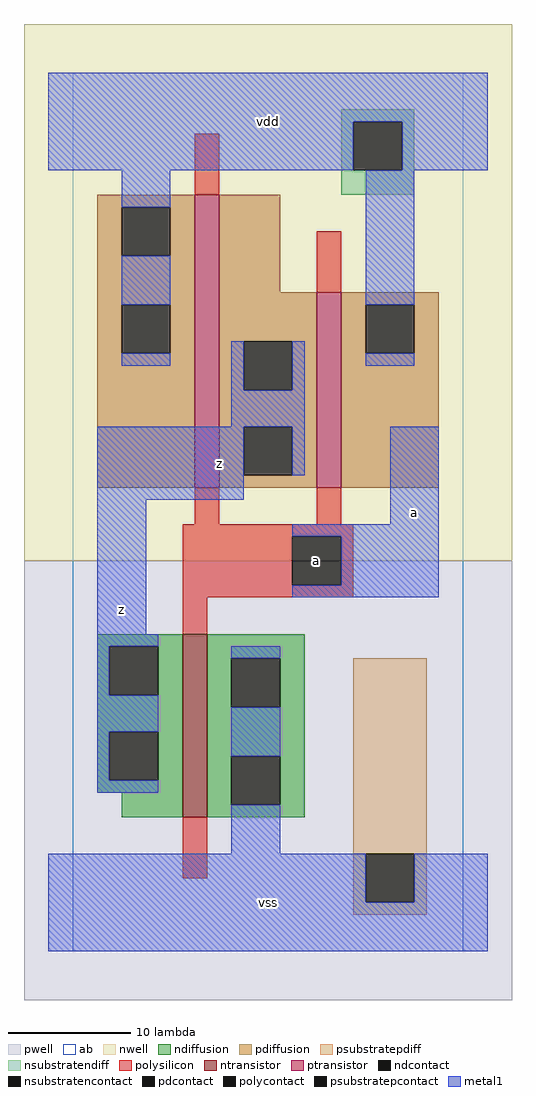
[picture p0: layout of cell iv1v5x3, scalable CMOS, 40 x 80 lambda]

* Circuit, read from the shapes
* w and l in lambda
.subckt iv1v5x3 a vdd vss z
M1 vss a z vss nfet w=15 l=2
M2 z a vdd vdd pfet w=24 l=2
M3 vdd a z vdd pfet w=16 l=2
.ends

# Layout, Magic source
magic
tech scmos
<< ab >>
rect 0 0 32 72
<< pwell >>
rect -4 -4 36 32
<< nwell >>
rect -4 32 36 76
<< polysilicon >>
rect 10 62 12 67
rect 20 54 22 59
rect 10 35 12 38
rect 20 35 22 38
rect 9 34 23 35
rect 9 30 18 34
rect 22 30 23 34
rect 9 29 23 30
rect 9 26 11 29
rect 9 6 11 11
<< ndiffusion >>
rect 2 25 9 26
rect 2 21 3 25
rect 7 21 9 25
rect 2 18 9 21
rect 2 14 3 18
rect 7 14 9 18
rect 2 13 9 14
rect 4 11 9 13
rect 11 24 19 26
rect 11 20 13 24
rect 17 20 19 24
rect 11 16 19 20
rect 11 12 13 16
rect 17 12 19 16
rect 11 11 19 12
<< pdiffusion >>
rect 2 61 10 62
rect 2 57 4 61
rect 8 57 10 61
rect 2 53 10 57
rect 2 49 4 53
rect 8 49 10 53
rect 2 38 10 49
rect 12 54 17 62
rect 12 50 20 54
rect 12 46 14 50
rect 18 46 20 50
rect 12 43 20 46
rect 12 39 14 43
rect 18 39 20 43
rect 12 38 20 39
rect 22 53 30 54
rect 22 49 24 53
rect 28 49 30 53
rect 22 38 30 49
<< metal1 >>
rect -2 68 34 72
rect -2 64 23 68
rect 27 64 34 68
rect 4 61 8 64
rect 4 53 8 57
rect 24 53 28 64
rect 4 48 8 49
rect 13 46 14 50
rect 18 46 19 50
rect 24 48 28 49
rect 13 43 19 46
rect 2 37 14 43
rect 18 39 19 43
rect 2 26 6 37
rect 26 35 30 43
rect 18 34 30 35
rect 22 30 30 34
rect 18 29 30 30
rect 2 25 7 26
rect 2 21 3 25
rect 2 18 7 21
rect 2 14 3 18
rect 2 13 7 14
rect 13 24 17 25
rect 13 16 17 20
rect 13 8 17 12
rect -2 4 24 8
rect 28 4 34 8
rect -2 0 34 4
<< ntransistor >>
rect 9 11 11 26
<< ptransistor >>
rect 10 38 12 62
rect 20 38 22 54
<< polycontact >>
rect 18 30 22 34
<< ndcontact >>
rect 3 21 7 25
rect 3 14 7 18
rect 13 20 17 24
rect 13 12 17 16
<< pdcontact >>
rect 4 57 8 61
rect 4 49 8 53
rect 14 46 18 50
rect 14 39 18 43
rect 24 49 28 53
<< psubstratepcontact >>
rect 24 4 28 8
<< nsubstratencontact >>
rect 23 64 27 68
<< psubstratepdiff >>
rect 23 8 29 24
rect 23 4 24 8
rect 28 4 29 8
rect 23 3 29 4
<< nsubstratendiff >>
rect 22 68 28 69
rect 22 64 23 68
rect 27 64 28 68
rect 22 62 28 64
<< labels >>
rlabel metal1 4 28 4 28 6 z
rlabel metal1 12 40 12 40 6 z
rlabel metal1 16 4 16 4 6 vss
rlabel polycontact 20 32 20 32 6 a
rlabel metal1 16 68 16 68 6 vdd
rlabel metal1 28 36 28 36 6 a
<< end >>
